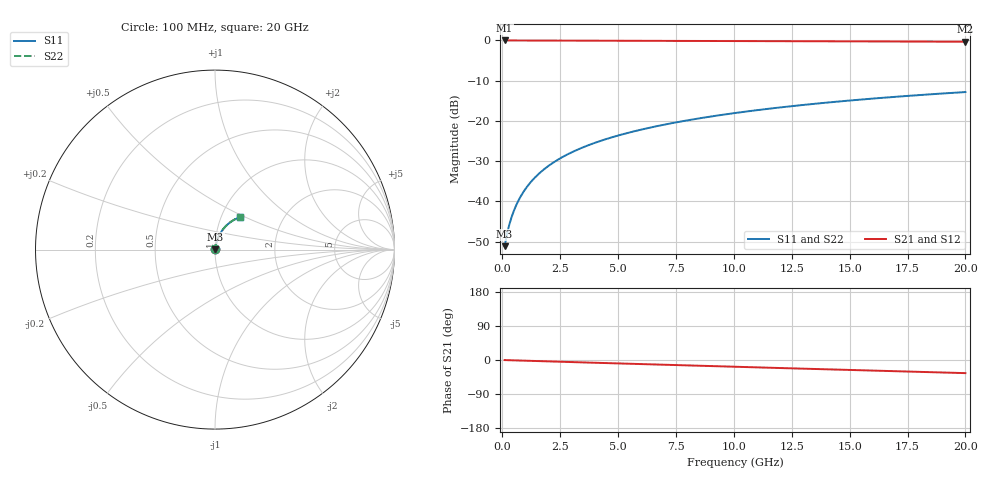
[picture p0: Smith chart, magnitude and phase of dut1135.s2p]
! Touchstone file exported from HFSS 2026.1.0
!  File:  C:/ffzhzh/LocalFiles/Ansys_Project_Files/temp_train_TMRDL_1135_1783161851_43440.aedt
!  Generated:  06:45:28 PM Jul  4, 2026
!  Design:  TMRDL
!  Project:  temp_train_TMRDL_1135_1783161851_43440
! Variables:
!  h_bsmrdl = 2um
!  h_ox = 20um
!  h_rdl = 5um
!  h_sub = 80um
!  h_tmrdl = 5.93um
!  h_tsv = 80um
!  h_via = 3um
!  l_bsmrdl = 300um
!  l_sub = 972.94um
!  l_tmrdl = 572.94um
!  m_sub = 200um
!  pitch = 29.87um
!  r_tsv = 6um
!  s_tmrdl = 10um
!  w_bsmrdl = 18um
!  w_sub = 500um
!  w_tmrdl = 16um
!  x_tsv_center1 = 580.94um
!  x_tsv_center2 = 898.94um
!  x_tsv_center3 = 1487.88um
!  x_tsv_center4 = 1805.88um
!  x_tsv_center5 = 2394.82um
!  x_tsv_center6 = 2712.82um
# GHz S MA R 50.000000
! Terminal data exported
! Port[1] = TM_RDL1_1_T1
! Port[2] = TM_RDL1_1_T2
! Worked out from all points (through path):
!   200 points, 100 MHz to 20 GHz, reference 50 ohm
!   highest |S21| = -0.02 dB at 100 MHz (marker M1); lowest = -0.3 dB at 20 GHz (marker M2)
!   group delay of S21, straight-line fit = 4.8 ps
!   lowest |S11| = -51.2 dB at 100 MHz (marker M3), VSWR 1.01, Z = 50.2 + j0.158 ohm
!   |S11| at or under -10 dB: start of sweep to end of sweep
!   |S22| runs from -51.2 to -12.8 dB; largest |S21 - S12| = 3.1e-15
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0.1  0.002767 34.6  0.9977 -0.2  0.9977 -0.2  0.002767 34.6
! Gamma 0 0 0 0
! Port Impedance 50 0 50 0
0.2  0.003886 51.0  0.9976 -0.4  0.9976 -0.4  0.003886 51.0
0.3  0.005098 59.5  0.9974 -0.6  0.9974 -0.6  0.005098 59.5
0.4  0.006346 64.8  0.9974 -0.8  0.9974 -0.8  0.006346 64.8
0.5  0.007622 68.4  0.9973 -0.9  0.9973 -0.9  0.007622 68.4
0.6  0.00892 70.9  0.9972 -1.1  0.9972 -1.1  0.00892 70.9
0.8  0.01156 74.2  0.9971 -1.5  0.9971 -1.5  0.01156 74.2
1.1  0.01557 76.8  0.9969 -2.0  0.9969 -2.0  0.01557 76.8
1.3  0.01826 77.7  0.9967 -2.4  0.9967 -2.4  0.01826 77.7
1.6  0.02228 78.4  0.9964 -3.0  0.9964 -3.0  0.02228 78.4
2.1  0.02892 78.6  0.9958 -3.9  0.9958 -3.9  0.02892 78.7
2.7  0.03677 78.3  0.995 -4.9  0.995 -4.9  0.03677 78.3
3.5  0.04701 77.5  0.9939 -6.4  0.9939 -6.4  0.04701 77.5
4.2  0.0558 76.6  0.9928 -7.6  0.9928 -7.6  0.0558 76.6
5  0.06566 75.5  0.9916 -9.0  0.9916 -9.0  0.06566 75.5
5.9  0.07658 74.2  0.9901 -10.6  0.9901 -10.6  0.07658 74.2
6.8  0.08734 72.8  0.9886 -12.2  0.9886 -12.2  0.08734 72.9
8.3  0.105 70.6  0.9861 -14.8  0.9861 -14.8  0.105 70.6
10.1  0.1256 67.9  0.9828 -17.9  0.9828 -17.9  0.1256 67.9
13.4  0.162 62.7  0.9763 -23.6  0.9763 -23.6  0.162 62.7
16.7  0.1961 57.5  0.969 -29.1  0.969 -29.1  0.1961 57.5
20  0.2279 52.3  0.9613 -34.6  0.9613 -34.6  0.2279 52.3
